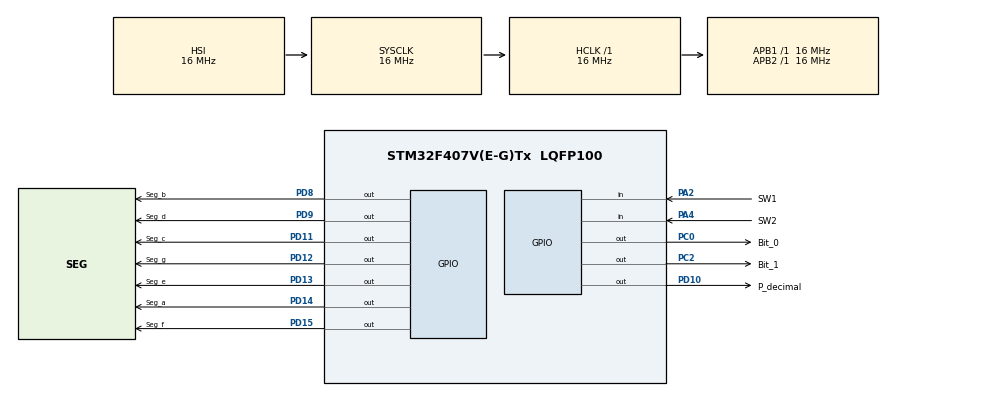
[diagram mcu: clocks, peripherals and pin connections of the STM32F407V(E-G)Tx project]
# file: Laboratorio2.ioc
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Mcu.Family=STM32F4
Mcu.Name=STM32F407V(E-G)Tx
Mcu.Package=LQFP100
NVIC.PriorityGroup=NVIC_PRIORITYGROUP_4
NVIC.TIM1_UP_TIM10_IRQn=true\:0\:0\:false\:false\:true\:true\:true\:true
PA2.GPIO_Label=SW1
PA2.Signal=GPIO_Input
PA4.GPIO_Label=SW2
PA4.Signal=GPIO_Input
PC0.GPIO_Label=Bit_0
PC0.Signal=GPIO_Output
PC2.GPIO_Label=Bit_1
PC2.Signal=GPIO_Output
PD10.GPIO_Label=P_decimal
PD10.Signal=GPIO_Output
PD11.GPIO_Label=Seg_c
PD11.Signal=GPIO_Output
PD12.GPIO_Label=Seg_g
PD12.Signal=GPIO_Output
PD13.GPIO_Label=Seg_e
PD13.Signal=GPIO_Output
PD14.GPIO_Label=Seg_a
PD14.Signal=GPIO_Output
PD15.GPIO_Label=Seg_f
PD15.Signal=GPIO_Output
PD8.GPIO_Label=Seg_b
PD8.Signal=GPIO_Output
PD9.GPIO_Label=Seg_d
PD9.Signal=GPIO_Output
ProjectManager.HeapSize=0x200
ProjectManager.StackSize=0x400
ProjectManager.TargetToolchain=STM32CubeIDE
RCC.AHBFreq_Value=16000000
RCC.APB1Freq_Value=16000000
RCC.APB2Freq_Value=16000000
RCC.CortexFreq_Value=16000000
RCC.HSE_VALUE=25000000
RCC.HSI_VALUE=16000000
RCC.LSE_VALUE=32768
RCC.SYSCLKFreq_VALUE=16000000
RCC.VCOOutputFreq_Value=192000000
TIM1.Period=31999
VP_TIM1_VS_ClockSourceINT.Mode=Internal
board=custom

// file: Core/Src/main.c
/* USER CODE BEGIN Header */
/**
  ******************************************************************************
  * @file           : main.c
  * @brief          : Main program body
  ******************************************************************************
  * @attention
  *
  * Copyright (c) 2026 STMicroelectronics.
  * All rights reserved.
  *
  * This software is licensed under terms that can be found in the LICENSE file
  * in the root directory of this software component.
  * If no LICENSE file comes with this software, it is provided AS-IS.
  *
  ******************************************************************************
  */
/* USER CODE END Header */
#include "main.h"

/* USER CODE BEGIN Includes */
#include <stdio.h>
#include <stdbool.h>
/* USER CODE END Includes */

/* USER CODE BEGIN PD */
#define T_REBOTE_MS 50U
/* USER CODE END PD */

TIM_HandleTypeDef htim1;

/* USER CODE BEGIN PV */
volatile bool cambio = false;
/* USER CODE END PV */

void SystemClock_Config(void);
static void MX_GPIO_Init(void);
static void MX_TIM1_Init(void);
/* USER CODE BEGIN PFP */
//void Display_SeleccionarDigito(uint8_t digito);
void Display_EscribirPatron(uint8_t);
void Display_Refrescar(uint8_t*);
void cronometrar(uint8_t*, uint8_t*, uint8_t*, uint8_t*);
bool HayNuevaPulsacion(GPIO_TypeDef* PULSADOR,uint16_t PIN, GPIO_PinState* estado_valido);
/* USER CODE END PFP */

int main(void)
{

  /* USER CODE BEGIN 1 */
	uint8_t cronometro = 0;
	uint8_t centesima = 0;
	uint8_t segundos = 0;
	uint8_t display[4] = {
			0,
			0,
			0,
			0
	};
	GPIO_PinState estado_valido1 = GPIO_PIN_SET;
	GPIO_PinState estado_valido2 = GPIO_PIN_SET;
	bool runtime = false;
  /* USER CODE END 1 */

  /* MCU Configuration--------------------------------------------------------*/

  /* Reset of all peripherals, Initializes the Flash interface and the Systick. */
  HAL_Init();

  /* Configure the system clock */
  SystemClock_Config();

  /* Initialize all configured peripherals */
  MX_GPIO_Init();
  MX_TIM1_Init();
  /* USER CODE BEGIN 2 */
  HAL_TIM_Base_Start_IT(&htim1);
  /* USER CODE END 2 */

  /* Infinite loop */
  while (1)
  {
	  if(cambio == true)
	  {
		  Display_Refrescar(display);
		  if(HayNuevaPulsacion(SW1_GPIO_Port, SW1_Pin, &estado_valido1))
		  {
			  runtime = !runtime;
		  }
		  if(runtime)
		  {
			  cronometrar(&cronometro, &centesima, &segundos, display);
		  }
		  else if(HayNuevaPulsacion(SW2_GPIO_Port, SW2_Pin, &estado_valido2))
		  {
			  cronometro = 0;
			  centesima = 0;
			  segundos = 0;
			  for(int i = 0 ; i<4 ; i++)
			  {
				  display[i] = 0;
			  }
		  }
	  }

  }
}

void SystemClock_Config(void)
{
  RCC_OscInitTypeDef RCC_OscInitStruct = {0};
  RCC_ClkInitTypeDef RCC_ClkInitStruct = {0};

  /** Configure the main internal regulator output voltage
  */
  __HAL_RCC_PWR_CLK_ENABLE();
  __HAL_PWR_VOLTAGESCALING_CONFIG(PWR_REGULATOR_VOLTAGE_SCALE1);

  /** Initializes the RCC Oscillators according to the specified parameters
  * in the RCC_OscInitTypeDef structure.
  */
  RCC_OscInitStruct.OscillatorType = RCC_OSCILLATORTYPE_HSI;
  RCC_OscInitStruct.HSIState = RCC_HSI_ON;
  RCC_OscInitStruct.HSICalibrationValue = RCC_HSICALIBRATION_DEFAULT;
  RCC_OscInitStruct.PLL.PLLState = RCC_PLL_NONE;
  if (HAL_RCC_OscConfig(&RCC_OscInitStruct) != HAL_OK)
  {
    Error_Handler();
  }

  /** Initializes the CPU, AHB and APB buses clocks
  */
  RCC_ClkInitStruct.ClockType = RCC_CLOCKTYPE_HCLK|RCC_CLOCKTYPE_SYSCLK
                              |RCC_CLOCKTYPE_PCLK1|RCC_CLOCKTYPE_PCLK2;
  RCC_ClkInitStruct.SYSCLKSource = RCC_SYSCLKSOURCE_HSI;
  RCC_ClkInitStruct.AHBCLKDivider = RCC_SYSCLK_DIV1;
  RCC_ClkInitStruct.APB1CLKDivider = RCC_HCLK_DIV1;
  RCC_ClkInitStruct.APB2CLKDivider = RCC_HCLK_DIV1;

  if (HAL_RCC_ClockConfig(&RCC_ClkInitStruct, FLASH_LATENCY_0) != HAL_OK)
  {
    Error_Handler();
  }
}

static void MX_TIM1_Init(void)
{

  TIM_ClockConfigTypeDef sClockSourceConfig = {0};
  TIM_MasterConfigTypeDef sMasterConfig = {0};

  htim1.Instance = TIM1;
  htim1.Init.Prescaler = 0;
  htim1.Init.CounterMode = TIM_COUNTERMODE_UP;
  htim1.Init.Period = 31999;
  htim1.Init.ClockDivision = TIM_CLOCKDIVISION_DIV1;
  htim1.Init.RepetitionCounter = 0;
  htim1.Init.AutoReloadPreload = TIM_AUTORELOAD_PRELOAD_DISABLE;
  if (HAL_TIM_Base_Init(&htim1) != HAL_OK)
  {
    Error_Handler();
  }
  sClockSourceConfig.ClockSource = TIM_CLOCKSOURCE_INTERNAL;
  if (HAL_TIM_ConfigClockSource(&htim1, &sClockSourceConfig) != HAL_OK)
  {
    Error_Handler();
  }
  sMasterConfig.MasterOutputTrigger = TIM_TRGO_RESET;
  sMasterConfig.MasterSlaveMode = TIM_MASTERSLAVEMODE_DISABLE;
  if (HAL_TIMEx_MasterConfigSynchronization(&htim1, &sMasterConfig) != HAL_OK)
  {
    Error_Handler();
  }

}

static void MX_GPIO_Init(void)
{
  GPIO_InitTypeDef GPIO_InitStruct = {0};

  /* GPIO Ports Clock Enable */
  __HAL_RCC_GPIOC_CLK_ENABLE();
  __HAL_RCC_GPIOA_CLK_ENABLE();
  __HAL_RCC_GPIOD_CLK_ENABLE();

  /*Configure GPIO pin Output Level */
  HAL_GPIO_WritePin(GPIOC, Bit_0_Pin|Bit_1_Pin, GPIO_PIN_RESET);

  /*Configure GPIO pin Output Level */
  HAL_GPIO_WritePin(GPIOD, Seg_b_Pin|Seg_d_Pin|P_decimal_Pin|Seg_c_Pin
                          |Seg_g_Pin|Seg_e_Pin|Seg_a_Pin|Seg_f_Pin, GPIO_PIN_RESET);

  /*Configure GPIO pins : Bit_0_Pin Bit_1_Pin */
  GPIO_InitStruct.Pin = Bit_0_Pin|Bit_1_Pin;
  GPIO_InitStruct.Mode = GPIO_MODE_OUTPUT_PP;
  GPIO_InitStruct.Pull = GPIO_NOPULL;
  GPIO_InitStruct.Speed = GPIO_SPEED_FREQ_LOW;
  HAL_GPIO_Init(GPIOC, &GPIO_InitStruct);

  /*Configure GPIO pins : SW1_Pin SW2_Pin */
  GPIO_InitStruct.Pin = SW1_Pin|SW2_Pin;
  GPIO_InitStruct.Mode = GPIO_MODE_INPUT;
  GPIO_InitStruct.Pull = GPIO_NOPULL;
  HAL_GPIO_Init(GPIOA, &GPIO_InitStruct);

  /*Configure GPIO pins : Seg_b_Pin Seg_d_Pin P_decimal_Pin Seg_c_Pin
                           Seg_g_Pin Seg_e_Pin Seg_a_Pin Seg_f_Pin */
  GPIO_InitStruct.Pin = Seg_b_Pin|Seg_d_Pin|P_decimal_Pin|Seg_c_Pin
                          |Seg_g_Pin|Seg_e_Pin|Seg_a_Pin|Seg_f_Pin;
  GPIO_InitStruct.Mode = GPIO_MODE_OUTPUT_PP;
  GPIO_InitStruct.Pull = GPIO_NOPULL;
  GPIO_InitStruct.Speed = GPIO_SPEED_FREQ_LOW;
  HAL_GPIO_Init(GPIOD, &GPIO_InitStruct);

}

/* USER CODE BEGIN 4 */
/*void Display_SeleccionarDigito(uint8_t digito)
{

}*/
void Display_EscribirPatron(uint8_t patron)
{
	uint8_t valores[10]={
			0x3f, // 0
			0x06, // 1
			0x5b, // 2
			0x4f, // 3
			0x66, // 4
			0x6d, // 5
			0x7d, // 6
			0x07, // 7
			0x7f, // 8
			0x6f  // 9
	};

	if(patron < 10)
	{
		HAL_GPIO_WritePin(Seg_a_GPIO_Port,Seg_a_Pin, (valores[patron] & (1 << 0) ? GPIO_PIN_SET : GPIO_PIN_RESET)); // segmento A
		HAL_GPIO_WritePin(Seg_b_GPIO_Port,Seg_b_Pin, (valores[patron] & (1 << 1) ? GPIO_PIN_SET : GPIO_PIN_RESET)); // segmento B
		HAL_GPIO_WritePin(Seg_c_GPIO_Port,Seg_c_Pin, (valores[patron] & (1 << 2) ? GPIO_PIN_SET : GPIO_PIN_RESET)); // segmento C
		HAL_GPIO_WritePin(Seg_d_GPIO_Port,Seg_d_Pin, (valores[patron] & (1 << 3) ? GPIO_PIN_SET : GPIO_PIN_RESET)); // segmento D
		HAL_GPIO_WritePin(Seg_e_GPIO_Port,Seg_e_Pin, (valores[patron] & (1 << 4) ? GPIO_PIN_SET : GPIO_PIN_RESET)); // segmento E
		HAL_GPIO_WritePin(Seg_f_GPIO_Port,Seg_f_Pin, (valores[patron] & (1 << 5) ? GPIO_PIN_SET : GPIO_PIN_RESET)); // segmento F
		HAL_GPIO_WritePin(Seg_g_GPIO_Port,Seg_g_Pin, (valores[patron] & (1 << 6) ? GPIO_PIN_SET : GPIO_PIN_RESET)); // segmento G
	}
}
void Display_Refrescar(uint8_t* numeros)
{
	static uint8_t contador = 0;
	Display_EscribirPatron(numeros[contador]);
	if (contador == 2)
	{
		HAL_GPIO_WritePin(P_decimal_GPIO_Port,P_decimal_Pin,GPIO_PIN_SET);
	}
	else
	{
		HAL_GPIO_WritePin(P_decimal_GPIO_Port,P_decimal_Pin,GPIO_PIN_RESET);
	}
	HAL_GPIO_WritePin(Bit_0_GPIO_Port,Bit_0_Pin, (contador & (1 << 0) ? GPIO_PIN_SET : GPIO_PIN_RESET));
	HAL_GPIO_WritePin(Bit_1_GPIO_Port,Bit_1_Pin, (contador & (1 << 1) ? GPIO_PIN_SET : GPIO_PIN_RESET));
	cambio = false;
	contador++;
	if (contador >= 4)
	{
		contador = 0;
	}
}

void HAL_TIM_PeriodElapsedCallback(TIM_HandleTypeDef *htim)
{
	if(htim->Instance == htim1.Instance)
	{
		cambio = true;
	}
}

void cronometrar(uint8_t* cronometro, uint8_t* centesima, uint8_t* segundos, uint8_t* numeros)
{
	(*cronometro)++;
	if((*cronometro) == 5)
	{
		(*centesima)++;
		(*cronometro) = 0;
	}
	if((*centesima) == 100)
	{
		(*segundos)++;
		(*centesima) = 0;
		if((*segundos) == 100)
		{
			(*segundos) = 0;
		}
	}
	numeros[0] = (*centesima) % 10;
	numeros[1] = (*centesima) /10;
	numeros[2] = (*segundos) % 10;
	numeros[3] = (*segundos) /10;
}

bool HayNuevaPulsacion(GPIO_TypeDef* PULSADOR,uint16_t PIN, GPIO_PinState* estado_valido)
{
	GPIO_PinState lectura1;
	GPIO_PinState lectura2;
	bool nueva_pulsacion = false;
	lectura1 = HAL_GPIO_ReadPin(PULSADOR, PIN);
	if(lectura1 != (*estado_valido))
	{
		HAL_Delay(T_REBOTE_MS);
		lectura2 = HAL_GPIO_ReadPin(PULSADOR, PIN);
		if(lectura2 == lectura1)
		{
			GPIO_PinState estado_anterior = *estado_valido;
			*estado_valido = lectura2;
			if((estado_anterior == GPIO_PIN_SET) && (*estado_valido == GPIO_PIN_RESET))
			{
				nueva_pulsacion = true;
			}
		}
	}
	return nueva_pulsacion;
}

/* USER CODE END 4 */

void Error_Handler(void)
{
  __disable_irq();
  while (1)
  {
  }
}
